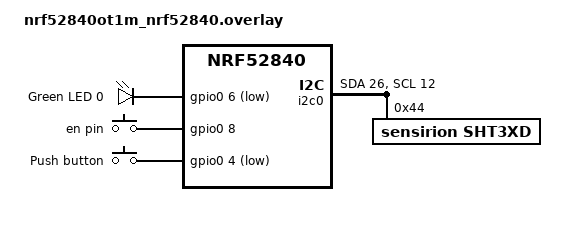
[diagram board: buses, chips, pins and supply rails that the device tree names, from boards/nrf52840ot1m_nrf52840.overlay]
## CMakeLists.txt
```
# SPDX-License-Identifier: Apache-2.0

cmake_minimum_required(VERSION 3.13.1)

set(BOARD nrf52840ot1m_nrf52840)

find_package(Zephyr HINTS $ENV{ZEPHYR_BASE})

include_directories(${CMAKE_SOURCE_DIR}/build/zephyr/include/generated)

file(STRINGS
        ${CMAKE_SOURCE_DIR}/build/zephyr/include/generated/autoconf.h
        LIST_OF_CONFIGS
        REGEX "^#define CONFIG_"
        ENCODING "UTF-8"
        )
foreach (CONFIG ${LIST_OF_CONFIGS})
    string(REPLACE " " ";" CONFIG_ITEM_LIST ${CONFIG})
    list(GET CONFIG_ITEM_LIST 1 CONFIG_ITEM_NAME)
    list(GET CONFIG_ITEM_LIST 2 CONFIG_ITEM_VALUE)
#    message(${CONFIG_ITEM_NAME})
#    message(${CONFIG_ITEM_VALUE})
    add_definitions('-D${CONFIG_ITEM_NAME}=${CONFIG_ITEM_VALUE}')
    set(${CONFIG_ITEM_NAME} ${CONFIG_ITEM_VALUE})
endforeach()

include_directories(${ZEPHYR_BASE}/subsys/net/ip ../modules/lib/openthread/include)

project(thingsboard_coap_sensor)
target_sources(app PRIVATE src/button.c src/main.c)

target_include_directories(app PRIVATE ${CMAKE_SOURCE_DIR}/src)
```

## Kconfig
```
config APP_THINGS_BOARD_SERVER
    string "ThingsBoard server ipv6"
    default "ff03::1"

config APP_THINGS_BOARD_TOKEN
    string "ThingsBoard server access token"
    default "abcd"

source "Kconfig.zephyr"
```

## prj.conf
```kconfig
# 通用配置
CONFIG_GPIO=y
CONFIG_NRFX_GPIOTE=y
CONFIG_CONSOLE=n
CONFIG_SHELL_BACKENDS=n
CONFIG_UART_CONSOLE=n
CONFIG_SERIAL=n

CONFIG_I2C=y
CONFIG_I2C_LOG_LEVEL_DBG=y
CONFIG_APP_COAP=y
CONFIG_APP_OPENTHREAD=y
CONFIG_APP_SETTINGS=y
CONFIG_APP_SHT30D=y

CONFIG_LOG=y
CONFIG_BOOTLOADER_MCUBOOT=n
CONFIG_SYS_POWER_MANAGEMENT=y
CONFIG_DEVICE_POWER_MANAGEMENT=y

CONFIG_POLL=y
# CONFIG_REBOOT=y
CONFIG_LOG_BACKEND_UART=n
CONFIG_LOG_BACKEND_RTT=y
CONFIG_LOG_DEFAULT_LEVEL=3
CONFIG_SENSOR_LOG_LEVEL_DBG=y
CONFIG_RING_BUFFER=y

CONFIG_SETTINGS=y
CONFIG_NVS=y
CONFIG_SETTINGS_NVS=y
CONFIG_SYS_POWER_MANAGEMENT=y
CONFIG_DEVICE_POWER_MANAGEMENT=y

# Kernel options
CONFIG_MAIN_STACK_SIZE=2048
CONFIG_ENTROPY_GENERATOR=y
CONFIG_TEST_RANDOM_GENERATOR=y
CONFIG_INIT_STACKS=y

CONFIG_NEWLIB_LIBC=y
CONFIG_NEWLIB_LIBC_FLOAT_PRINTF=y

# Generic networking options
CONFIG_NETWORKING=y
CONFIG_NET_UDP=y
CONFIG_NET_TCP=n
CONFIG_NET_IPV6=y
CONFIG_NET_IPV4=n
CONFIG_NET_SOCKETS=y
CONFIG_NET_SOCKETS_POSIX_NAMES=y
CONFIG_NET_SOCKETS_POLL_MAX=4
CONFIG_NET_CONNECTION_MANAGER=y

# Kernel options
CONFIG_MAIN_STACK_SIZE=2048
CONFIG_ENTROPY_GENERATOR=y
CONFIG_TEST_RANDOM_GENERATOR=y
CONFIG_INIT_STACKS=y
CONFIG_HEAP_MEM_POOL_SIZE=32768

# Logging
CONFIG_NET_LOG=y
CONFIG_LOG_STRDUP_BUF_COUNT=10
CONFIG_NET_STATISTICS=y
CONFIG_PRINTK=y

# Network buffers
CONFIG_NET_PKT_RX_COUNT=16
CONFIG_NET_PKT_TX_COUNT=16
CONFIG_NET_BUF_RX_COUNT=80
CONFIG_NET_BUF_TX_COUNT=80
CONFIG_NET_CONTEXT_NET_PKT_POOL=y

# IP address options
CONFIG_NET_IF_UNICAST_IPV6_ADDR_COUNT=3
CONFIG_NET_IF_MCAST_IPV6_ADDR_COUNT=4
CONFIG_NET_MAX_CONTEXTS=10

# Network shell
CONFIG_NET_SHELL=n

# The addresses are selected so that qemu<->qemu connectivity works ok.
# For linux<->qemu connectivity, create a new conf file and swap the
# addresses (so that peer address is ending to 2).
CONFIG_NET_CONFIG_SETTINGS=y
CONFIG_NET_CONFIG_NEED_IPV6=y

CONFIG_NEWLIB_LIBC=y

CONFIG_NET_IPV6_NBR_CACHE=n
CONFIG_NET_IPV6_MLD=n
CONFIG_NET_CONFIG_NEED_IPV4=n

CONFIG_SYSTEM_WORKQUEUE_STACK_SIZE=2048
CONFIG_SHELL_STACK_SIZE=3072

CONFIG_NET_L2_OPENTHREAD=y

CONFIG_OPENTHREAD_DEBUG=y
CONFIG_OPENTHREAD_L2_DEBUG=y
CONFIG_OPENTHREAD_L2_LOG_LEVEL_INF=y
# CONFIG_OPENTHREAD_L2_LOG_LEVEL_DBG=y
CONFIG_OPENTHREAD_CHANNEL=26

# mbedTLS tweaks
CONFIG_MBEDTLS_SSL_MAX_CONTENT_LEN=768

# A sample configuration to enable Thread Joiner, uncomment if needed
CONFIG_OPENTHREAD_JOINER=y
#CONFIG_OPENTHREAD_JOINER_AUTOSTART=y

# Enable diagnostic module, uncomment if needed
#CONFIG_OPENTHREAD_DIAG=yAPP_MAX_COAP_MSG_LEN

CONFIG_OPENTHREAD_MANUAL_START=y
CONFIG_OPENTHREAD_SHELL=n
CONFIG_OPENTHREAD_SLAAC=y
CONFIG_OPENTHREAD_MTD=y

CONFIG_APP_OPENTHREAD_SLEEPY_POLL_PERIOD=100000
CONFIG_APP_THINGS_BOARD_SERVER="64:ff9b::784e:9f00"
CONFIG_APP_THINGS_BOARD_TOKEN="n8TTNKyVEbWTDwtweypP"
CONFIG_APP_OPENTHREAD_JOINER_PSKD="J01NME"
```

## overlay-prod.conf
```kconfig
CONFIG_ASSERT=n
CONFIG_LOG=n
CONFIG_NET_LOG=n
```

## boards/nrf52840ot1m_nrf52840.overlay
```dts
/ {
    leds {
		compatible = "gpio-leds";
		led0: led_0 {
			gpios = <&gpio0 6 GPIO_ACTIVE_LOW>;
			label = "Green LED 0";
		};
	};
	buttons {
        compatible = "gpio-keys";
        button0: button_0 {
            gpios = <&gpio0 8 (GPIO_PULL_DOWN | GPIO_ACTIVE_HIGH)>;
            label = "en pin";
        };
        button1: button_1 {
            gpios = <&gpio0 4 (GPIO_PULL_UP | GPIO_ACTIVE_LOW)>;
            label = "Push button";
        };
    };
    aliases {
        btnen = &button0;
        btnpush = &button1;
    };
};
&uart0 {
    status = "disabled";
};

&i2c0 { /* SDA P0.26, SCL P0.12*/
    compatible = "nordic,nrf-twi";
	status = "okay";
	sda-pin = <26>;
	scl-pin = <12>;
	sht3xd@44 {
		compatible = "sensirion,sht3xd";
		reg = <0x44>;
		label = "SHT3XD";
	};
};
```

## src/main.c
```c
/*
 * main 线程，进行公共的初始化操作，然后启动其他线程
 */

#include <zephyr.h>
#include <logging/log.h>
LOG_MODULE_REGISTER(main, LOG_LEVEL_INF);
#include <device.h>
#include <drivers/sensor.h>
#include <stdio.h>
#include <devicetree.h>
#include <drivers/gpio.h>
#include <power/power.h>
#include <math.h>
#include <app_openthread.h>
#include <nrfx_gpiote.h>
#include "button.h"
#include "app_coap.h"
#include "sht30d.h"

struct sockaddr_in6 addr6;
K_SEM_DEFINE(main_forever, 0, 1);
void sensor_timer_handler(struct k_timer *dummy);
K_TIMER_DEFINE(sensor_timer, sensor_timer_handler, NULL);
void sensor_work_handler(struct k_work *work);
K_WORK_DEFINE(sensor_work, sensor_work_handler);

float pre_temp=0.0f;
float pre_hum=0.0f;

void sensor_timer_handler(struct k_timer *dummy){
    if(app_ot_is_connected()){
        k_work_submit(&sensor_work);
    }
}

void sensor_work_handler(struct k_work *work) {
    int ret;
    char payload[256];
    char uri[128];
    float temp, hum;
    size_t len;
    if(0 != app_sht30d_fetch(&temp, &hum)){
        LOG_ERR("fetch sensor error");
        return;
    }
    if(fabsf(pre_temp-temp) < 0.1 && fabsf(pre_hum-hum) < 0.1 ) {
        return;
    }
    pre_temp = temp;
    pre_hum = hum;
    len = sprintf(payload, "{\"temperature\":\"%.1f\", \"humidity\":\"%.1f\"}\n",
                  temp, hum);
    payload[len] = '\0';
    len = sprintf(uri, "api/v1/%s/telemetry", CONFIG_APP_THINGS_BOARD_TOKEN);
    uri[len] = '\0';
    ret = app_coap_send_request(&addr6, COAP_METHOD_POST,
                                uri,
                                payload, COAP_TYPE_NON_CON, NULL);
    if (ret < 0) {
        LOG_ERR("coap request error %d", ret);
    }
}


void main(void) {
    LOG_INF("OT1M Starting...");
    /* Connect GPIOTE_0 IRQ to nrfx_gpiote_irq_handler */
    IRQ_CONNECT(DT_IRQN(DT_NODELABEL(gpiote)),
                DT_IRQ(DT_NODELABEL(gpiote), priority),
                nrfx_isr, nrfx_gpiote_irq_handler, 0);
    (void)nrfx_gpiote_init(NRFX_GPIOTE_DEFAULT_CONFIG_IRQ_PRIORITY);
    app_button_init();
    app_sht30d_init();

    addr6.sin6_family = AF_INET6;
    addr6.sin6_port = htons(5683);
    addr6.sin6_scope_id = 0U;
    if (net_addr_pton(AF_INET6, CONFIG_APP_THINGS_BOARD_SERVER, &addr6.sin6_addr) < 0) {
        LOG_ERR("COAP server error");
        return;
    }
    k_timer_start(&sensor_timer, K_SECONDS(60), K_SECONDS(60));
    (void)k_sem_take(&main_forever, K_FOREVER);
    LOG_ERR("NEVER RUN!");
}
```

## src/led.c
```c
//
// Created by yplam on 12/1/2021.
//
#include <zephyr.h>
#include <init.h>
#include <logging/log.h>
LOG_MODULE_REGISTER(led, LOG_LEVEL_INF);
#include <device.h>
#include <devicetree.h>
#include <drivers/gpio.h>

#define LED0_NODE DT_NODELABEL(led0)
#define LED0	DT_GPIO_LABEL(LED0_NODE, gpios)
#define LED_PIN	DT_GPIO_PIN(LED0_NODE, gpios)
#define LED_FLAGS	DT_GPIO_FLAGS(LED0_NODE, gpios)

static const struct device *led_dev;

static int app_led_startup(const struct device *dev){
    led_dev =device_get_binding(LED0);
    int ret;
    LOG_INF("config led");
    if (led_dev == NULL) {
        LOG_INF("Could not get led_dev");
        return 0;
    }
    ret = gpio_pin_configure(led_dev, LED_PIN, GPIO_OUTPUT | LED_FLAGS);
    if (ret < 0) {
        LOG_INF("Can not set pin");
        return 0;
    }
    gpio_pin_set(led_dev, LED_PIN, 1);
    return 0;
}

//SYS_INIT(app_led_startup, APPLICATION, CONFIG_APPLICATION_INIT_PRIORITY);
```
